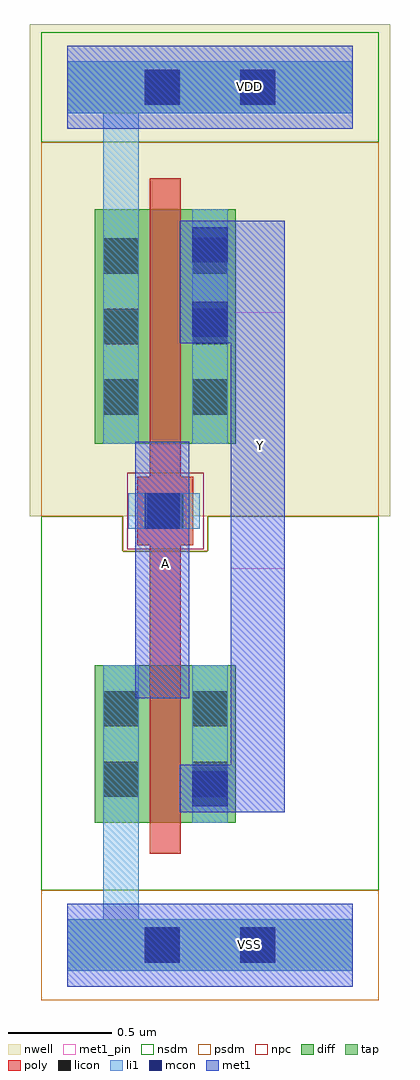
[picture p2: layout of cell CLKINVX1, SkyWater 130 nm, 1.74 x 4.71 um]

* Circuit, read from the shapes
.subckt CLKINVX1 A VDD VSS Y
XM1 Y A VSS VSS sky130_fd_pr__nfet_01v8 w=0.76 l=0.15
XM2 Y A VDD VDD sky130_fd_pr__pfet_01v8 w=1.13 l=0.15
.ends

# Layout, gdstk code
from math import pi, radians
import gdstk
lib = gdstk.Library(unit=1e-6, precision=1e-09)
def R(c, l, rs):  # rectangles x0, y0, x1, y1
    for r in rs: c.add(gdstk.rectangle(r[:2], r[2:], *l))
def A(c, l, x, y, w, h, nx, ny, dx, dy):  # array of equal rectangles
    R(c, l, [(x+i*dx, y+j*dy, x+i*dx+w, y+j*dy+h) for i in range(nx) for j in range(ny)])
def P(c, l, *ps):  # polygons
    for p in ps: c.add(gdstk.Polygon(p, *l))
nwell = (64, 20)
diff = (65, 20)
tap = (65, 44)
poly = (66, 20)
licon = (66, 44)
li1 = (67, 20)
mcon = (67, 44)
met1_pin = (68, 16)
met1 = (68, 20)
nsdm = (93, 44)
psdm = (94, 20)
npc = (95, 20)

pfet_01v8_cdns_716492285 = lib.new_cell('pfet_01v8_CDNS_716492285222')
R(pfet_01v8_cdns_716492285, nwell, [(-0.445,-0.18,0.595,1.31)])
R(pfet_01v8_cdns_716492285, diff, [(-0.265,0,0,1.13), (0,0,0.15,1.13), (0.15,0,0.415,1.13)])
R(pfet_01v8_cdns_716492285, poly, [(0,-0.15,0.15,-0.095), (0,-0.095,0.15,0), (0,0,0.15,1.13), (0,1.13,0.15,1.225), (0,1.225,0.15,1.28)])
A(pfet_01v8_cdns_716492285, licon, -0.225, 0.14, 0.17, 0.17, 1, 3, 0, 0.34)
A(pfet_01v8_cdns_716492285, licon, 0.205, 0.14, 0.17, 0.17, 1, 3, 0, 0.34)
R(pfet_01v8_cdns_716492285, li1, [(-0.225,0,-0.055,1.13), (0.205,0,0.375,1.13)])
R(pfet_01v8_cdns_716492285, psdm, [(-0.405,-0.13,0.555,1.26)])

nfet_01v8_cdns_716492285 = lib.new_cell('nfet_01v8_CDNS_716492285220')
R(nfet_01v8_cdns_716492285, diff, [(-0.265,0,0,0.76), (0,0,0.15,0.76), (0.15,0,0.415,0.76)])
R(nfet_01v8_cdns_716492285, poly, [(0,-0.15,0.15,-0.095), (0,-0.095,0.15,0), (0,0,0.15,0.76), (0,0.76,0.15,0.855), (0,0.855,0.15,0.91)])
R(nfet_01v8_cdns_716492285, licon, [(-0.225,0.125,-0.055,0.295), (0.205,0.125,0.375,0.295), (-0.225,0.465,-0.055,0.635), (0.205,0.465,0.375,0.635)])
R(nfet_01v8_cdns_716492285, li1, [(-0.225,0,-0.055,0.76), (0.205,0,0.375,0.76)])
R(nfet_01v8_cdns_716492285, nsdm, [(-0.405,-0.13,0.555,0.89)])

l1m1_c_cdns_716492285223 = lib.new_cell('L1M1_C_CDNS_716492285223')
R(l1m1_c_cdns_716492285223, li1, [(-0.165,-0.085,0.165,0.085)])
R(l1m1_c_cdns_716492285223, mcon, [(-0.085,-0.085,0.085,0.085)])
R(l1m1_c_cdns_716492285223, met1, [(-0.115,-0.145,0.115,0.145)])

c_l1m1_c_cdns_716492285223 = lib.new_cell('L1M1_C_CDNS_7164922852235')
R(c_l1m1_c_cdns_716492285223, li1, [(-0.085,-0.345,0.085,0.345)])
R(c_l1m1_c_cdns_716492285223, mcon, [(-0.085,-0.265,0.085,-0.095), (-0.085,0.095,0.085,0.265)])
R(c_l1m1_c_cdns_716492285223, met1, [(-0.145,-0.295,0.145,0.295)])

pyl1con_c_cdns_716492285 = lib.new_cell('PYL1CON_C_CDNS_716492285220')
R(pyl1con_c_cdns_716492285, poly, [(-0.135,-0.165,0.135,0.165)])
R(pyl1con_c_cdns_716492285, licon, [(-0.085,-0.085,0.085,0.085)])
R(pyl1con_c_cdns_716492285, npc, [(-0.185,-0.185,0.185,0.185)])

l1m1_c_cdns_716492285226 = lib.new_cell('L1M1_C_CDNS_716492285226')
R(l1m1_c_cdns_716492285226, li1, [(-0.085,-0.165,0.085,0.165)])
R(l1m1_c_cdns_716492285226, mcon, [(-0.085,-0.085,0.085,0.085)])
R(l1m1_c_cdns_716492285226, met1, [(-0.145,-0.115,0.145,0.115)])

clkinvx1 = lib.new_cell('CLKINVX1')
R(clkinvx1, nwell, [(-0.18,2.07,1.56,4.305), (-0.18,3.875,1.56,4.445)])
R(clkinvx1, licon, [(0.375,-0.085,0.545,0.085), (0.835,-0.085,1.005,0.085), (0.375,4.055,0.545,4.225), (0.835,4.055,1.005,4.225)])
R(clkinvx1, mcon, [(0.375,-0.085,0.545,0.085), (0.835,-0.085,1.005,0.085), (0.375,4.055,0.545,4.225), (0.835,4.055,1.005,4.225)])
R(clkinvx1, met1_pin, [(0.33,1.19,0.59,2.43), (0.79,1.815,1.05,3.055)])
R(clkinvx1, nsdm, [(-0.125,3.875,1.505,4.405), (-0.125,3.93,1.505,4.35)])
P(clkinvx1, nsdm, [(1.505,2.07),(0.68,2.07),(0.68,1.9),(0.27,1.9),(0.27,2.07),(-0.125,2.07),(-0.125,0.265),(1.505,0.265)])
R(clkinvx1, psdm, [(-0.125,-0.265,1.505,0.265), (-0.125,-0.21,1.505,0.21)])
P(clkinvx1, psdm, [(1.505,3.875),(-0.125,3.875),(-0.125,2.07),(0.27,2.07),(0.27,1.9),(0.68,1.9),(0.68,2.07),(1.505,2.07)])
clkinvx1.add(gdstk.FlexPath([(0.475,2.27),(0.475,1.5)], 0.15, ends="flush", simple_path=True, layer=66, datatype=20))  # poly
clkinvx1.add(gdstk.FlexPath([(0,0),(0.69,0)], 0.25, ends=(0, 0.085), simple_path=True, layer=67, datatype=20))  # li1
clkinvx1.add(gdstk.FlexPath([(1.285,0),(1.295,0)], 0.25, ends=(0.085, 0.085), simple_path=True, layer=67, datatype=20))  # li1
clkinvx1.add(gdstk.FlexPath([(1.295,0),(1.38,0)], 0.25, ends=(0.085, 0), simple_path=True, layer=67, datatype=20))  # li1
clkinvx1.add(gdstk.FlexPath([(0.69,0),(1.285,0)], 0.25, ends=(0.085, 0.085), simple_path=True, layer=67, datatype=20))  # li1
clkinvx1.add(gdstk.FlexPath([(0,4.14),(0.69,4.14)], 0.25, ends=(0, 0.085), simple_path=True, layer=67, datatype=20))  # li1
clkinvx1.add(gdstk.FlexPath([(1.285,4.14),(1.295,4.14)], 0.25, ends=(0.085, 0.085), simple_path=True, layer=67, datatype=20))  # li1
clkinvx1.add(gdstk.FlexPath([(1.295,4.14),(1.38,4.14)], 0.25, ends=(0.085, 0), simple_path=True, layer=67, datatype=20))  # li1
clkinvx1.add(gdstk.FlexPath([(0.69,4.14),(1.285,4.14)], 0.25, ends=(0.085, 0.085), simple_path=True, layer=67, datatype=20))  # li1
clkinvx1.add(gdstk.FlexPath([(0.295,2.095),(0.64,2.095)], 0.17, ends="flush", simple_path=True, layer=67, datatype=20))  # li1
clkinvx1.add(gdstk.FlexPath([(0.26,4.14),(0.215,4.14)], 0.17, ends=(0.085, 0), simple_path=True, layer=67, datatype=20))  # li1
clkinvx1.add(gdstk.FlexPath([(0.26,3.55),(0.26,4.14)], 0.17, ends=(0, 0.085), simple_path=True, layer=67, datatype=20))  # li1
clkinvx1.add(gdstk.FlexPath([(0.26,0),(0.215,0)], 0.17, ends=(0.085, 0), simple_path=True, layer=67, datatype=20))  # li1
clkinvx1.add(gdstk.FlexPath([(0.26,0.59),(0.26,0)], 0.17, ends=(0, 0.085), simple_path=True, layer=67, datatype=20))  # li1
clkinvx1.add(gdstk.FlexPath([(0,0),(1.38,0)], 0.25, ends="flush", simple_path=True, layer=65, datatype=44))  # tap
clkinvx1.add(gdstk.FlexPath([(0,4.14),(1.38,4.14)], 0.25, ends="flush", simple_path=True, layer=65, datatype=44))  # tap
clkinvx1.add(gdstk.FlexPath([(0,4.14),(1.38,4.14)], 0.4, ends="flush", simple_path=True, layer=68, datatype=20))  # met1
clkinvx1.add(gdstk.FlexPath([(0.46,2.43),(0.46,1.19)], 0.26, ends="flush", simple_path=True, layer=68, datatype=20))  # met1
clkinvx1.add(gdstk.FlexPath([(0.92,0.64),(0.92,3.495)], 0.26, ends="flush", simple_path=True, layer=68, datatype=20))  # met1
clkinvx1.add(gdstk.FlexPath([(0,0),(1.38,0)], 0.4, ends="flush", simple_path=True, layer=68, datatype=20))  # met1
clkinvx1.add(gdstk.FlexPath([(0,4.14),(1.38,4.14)], 0.4, ends="flush", simple_path=True, layer=68, datatype=16))  # met1_pin
clkinvx1.add(gdstk.FlexPath([(0,0),(1.38,0)], 0.4, ends="flush", simple_path=True, layer=68, datatype=16))  # met1_pin
clkinvx1.add(gdstk.Reference(pfet_01v8_cdns_716492285, (0.4,2.42)))
clkinvx1.add(gdstk.Reference(nfet_01v8_cdns_716492285, (0.4,0.59)))
clkinvx1.add(gdstk.Reference(l1m1_c_cdns_716492285223, (0.46,2.095)))
clkinvx1.add(gdstk.Reference(c_l1m1_c_cdns_716492285223, (0.69,3.2)))
clkinvx1.add(gdstk.Reference(pyl1con_c_cdns_716492285, (0.475,2.095), rotation=pi, x_reflection=True))
clkinvx1.add(gdstk.Reference(l1m1_c_cdns_716492285226, (0.69,0.755)))
clkinvx1.add(gdstk.Label('VDD', (0.88,4.145), layer=68, texttype=5))
clkinvx1.add(gdstk.Label('A', (0.475,1.84), layer=68, texttype=5))
clkinvx1.add(gdstk.Label('Y', (0.935,2.41), layer=68, texttype=5))
clkinvx1.add(gdstk.Label('VSS', (0.88,0.005), layer=68, texttype=5))

lib.write_gds('CLKINVX1.gds')
